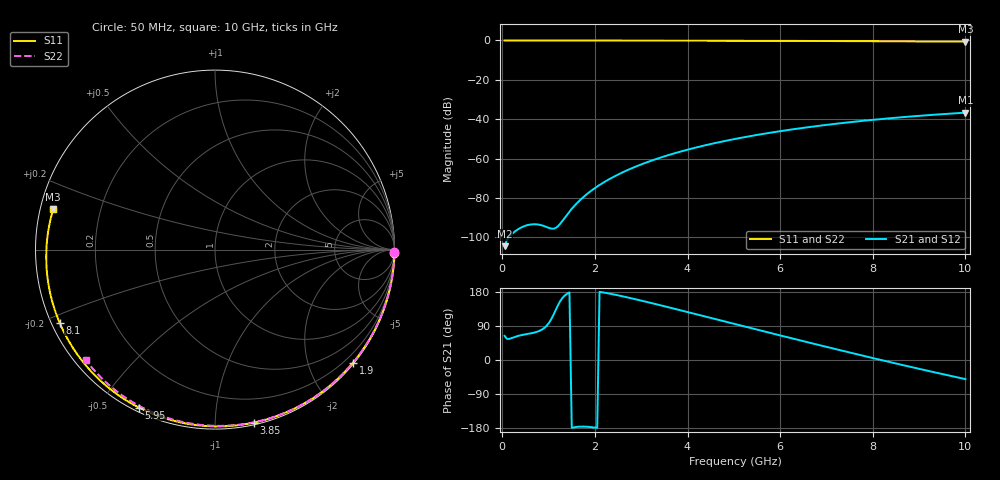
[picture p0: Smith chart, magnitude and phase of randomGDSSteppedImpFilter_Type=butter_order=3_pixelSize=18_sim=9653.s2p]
! freq	dB(S11)	phase(S11)	dB(S12)	phase(S12)
!  dB(S21)	phase(S21)	dB(S22)	phase(S22)
!S-par simulation data
#  GHz  S  DB  R 50
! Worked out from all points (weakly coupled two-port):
!   200 points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, 50 MHz to 10 GHz, reference 50 ohm
!   highest |S21| = -36.70 dB at 10 GHz (marker M1); lowest = -104.6 dB at 50 MHz (marker M2)
!   lowest |S11| = -0.6 dB at 10 GHz (marker M3), VSWR 27.21, Z = 1.87 + j6.13 ohm
!   |S11| at or under -10 dB: nowhere
!   |S22| runs from -0.5 to 0.0 dB; largest |S21 - S12| = 0
!   S11 on the Smith chart (normalised r, x): 50 MHz: open; 1.9 GHz: 0.03, -2.80; 3.85 GHz: 0.02, -1.25; 5.95 GHz: 0.02, -0.63; 8.1 GHz: 0.02, -0.22; 10 GHz: 0.04, +0.12
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0.05  -0.00 -1.1  -104.55 63.5  -104.55 63.5  -0.00 -0.8
0.45  -0.01 -9.5  -94.61 66.6  -94.61 66.6  -0.01 -7.3
0.85  -0.02 -17.8  -93.94 79.9  -93.94 79.9  -0.02 -13.7
1.7  -0.04 -35.2  -80.67 -175.7  -80.67 -175.7  -0.03 -27.1
1.75  -0.05 -36.2  -79.61 -175.7  -79.61 -175.7  -0.04 -27.8
1.9  -0.05 -39.3  -76.74 -176.9  -76.74 -176.9  -0.04 -30.2
2.2  -0.06 -45.3  -72.00 177.8  -72.00 177.8  -0.04 -34.8
2.55  -0.07 -52.2  -67.57 169.3  -67.57 169.3  -0.05 -40.2
2.95  -0.08 -60.1  -63.46 158.2  -63.46 158.2  -0.06 -46.2
3.4  -0.09 -68.8  -59.66 144.9  -59.66 144.9  -0.07 -52.9
3.85  -0.11 -77.3  -56.47 131.2  -56.47 131.2  -0.08 -59.5
4.45  -0.13 -88.5  -52.91 112.6  -52.91 112.6  -0.10 -68.1
5.05  -0.15 -99.5  -49.94 94.0  -49.94 94.0  -0.12 -76.5
5.95  -0.20 -115.7  -46.29 66.4  -46.29 66.4  -0.15 -88.7
6.7  -0.26 -129.1  -43.79 43.6  -43.79 43.6  -0.19 -98.5
7.4  -0.31 -141.8  -41.81 22.8  -41.81 22.8  -0.23 -107.5
8.1  -0.38 -154.8  -40.12 2.3  -40.12 2.3  -0.29 -116.2
8.35  -0.41 -159.6  -39.58 -4.9  -39.58 -4.9  -0.31 -119.3
8.8  -0.47 -168.4  -38.68 -17.7  -38.68 -17.7  -0.35 -124.9
9.2  -0.52 -176.6  -37.96 -28.9  -37.96 -28.9  -0.39 -129.7
9.6  -0.58 174.9  -37.30 -39.7  -37.30 -39.7  -0.43 -134.6
10  -0.64 166.0  -36.70 -50.4  -36.70 -50.4  -0.47 -139.5
